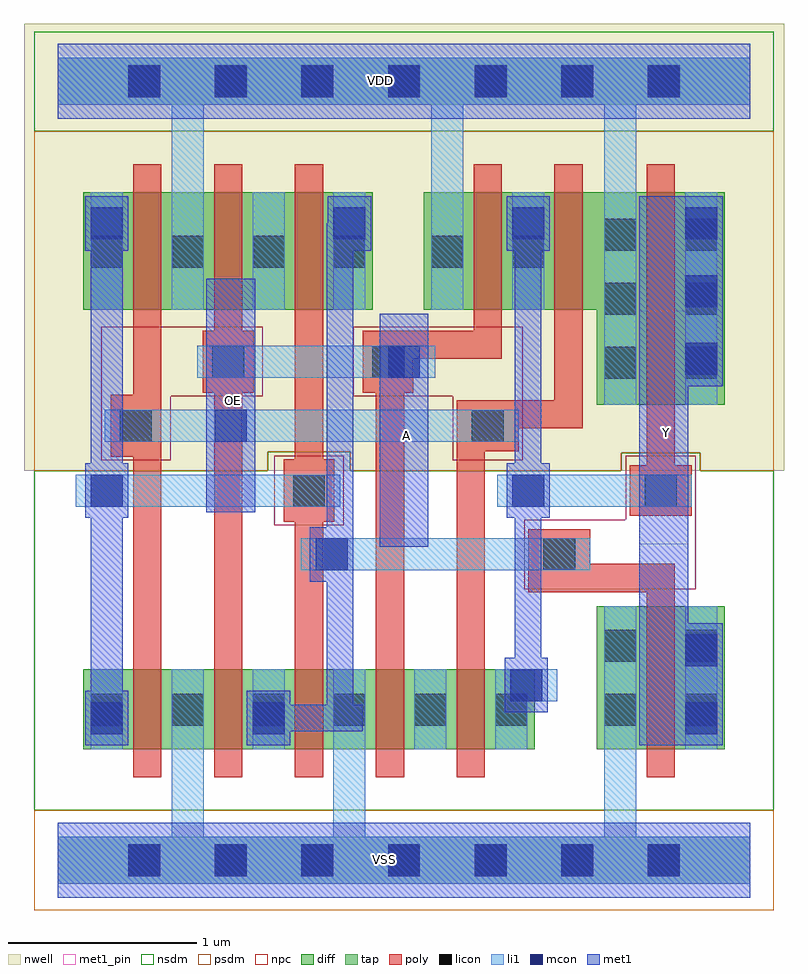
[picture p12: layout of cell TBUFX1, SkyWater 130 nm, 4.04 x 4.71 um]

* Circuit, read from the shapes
.subckt TBUFX1 A OE VDD VSS Y
XM1 VSS OE n1 VSS sky130_fd_pr__nfet_01v8 w=0.425 l=0.15
XM2 n2 A VSS VSS sky130_fd_pr__nfet_01v8 w=0.425 l=0.15
XM3 VSS n1 n2 VSS sky130_fd_pr__nfet_01v8 w=0.425 l=0.15
XM4 n3 A VSS VSS sky130_fd_pr__nfet_01v8 w=0.425 l=0.15
XM5 n4 OE n3 VSS sky130_fd_pr__nfet_01v8 w=0.425 l=0.15
XM6 Y n2 VSS VSS sky130_fd_pr__nfet_01v8 w=0.76 l=0.15
XM7 VDD OE n1 VDD sky130_fd_pr__pfet_01v8 w=0.625 l=0.15
XM8 n5 A VDD VDD sky130_fd_pr__pfet_01v8 w=0.625 l=0.15
XM9 n2 n1 n5 VDD sky130_fd_pr__pfet_01v8 w=0.625 l=0.15
XM10 n4 A VDD VDD sky130_fd_pr__pfet_01v8 w=0.625 l=0.15
XM11 VDD OE n4 VDD sky130_fd_pr__pfet_01v8 w=0.625 l=0.15
XM12 Y n4 VDD VDD sky130_fd_pr__pfet_01v8 w=1.13 l=0.15
.ends

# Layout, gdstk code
from math import pi, radians
import gdstk
lib = gdstk.Library(unit=1e-6, precision=1e-09)
def R(c, l, rs):  # rectangles x0, y0, x1, y1
    for r in rs: c.add(gdstk.rectangle(r[:2], r[2:], *l))
def A(c, l, x, y, w, h, nx, ny, dx, dy):  # array of equal rectangles
    R(c, l, [(x+i*dx, y+j*dy, x+i*dx+w, y+j*dy+h) for i in range(nx) for j in range(ny)])
def P(c, l, *ps):  # polygons
    for p in ps: c.add(gdstk.Polygon(p, *l))
nwell = (64, 20)
diff = (65, 20)
tap = (65, 44)
poly = (66, 20)
licon = (66, 44)
li1 = (67, 20)
mcon = (67, 44)
met1_pin = (68, 16)
met1 = (68, 20)
nsdm = (93, 44)
psdm = (94, 20)
npc = (95, 20)

pfet_01v8_cdns_715785618 = lib.new_cell('pfet_01v8_CDNS_7157856182038')
R(pfet_01v8_cdns_715785618, nwell, [(-0.445,-0.18,0.595,1.31)])
R(pfet_01v8_cdns_715785618, diff, [(-0.265,0,0,1.13), (0,0,0.15,1.13), (0.15,0,0.415,1.13)])
R(pfet_01v8_cdns_715785618, poly, [(0,-0.15,0.15,-0.095), (0,-0.095,0.15,0), (0,0,0.15,1.13), (0,1.13,0.15,1.225), (0,1.225,0.15,1.28)])
A(pfet_01v8_cdns_715785618, licon, -0.225, 0.14, 0.17, 0.17, 1, 3, 0, 0.34)
A(pfet_01v8_cdns_715785618, licon, 0.205, 0.14, 0.17, 0.17, 1, 3, 0, 0.34)
R(pfet_01v8_cdns_715785618, li1, [(-0.225,0,-0.055,1.13), (0.205,0,0.375,1.13)])
R(pfet_01v8_cdns_715785618, psdm, [(-0.405,-0.13,0.555,1.26)])

nfet_01v8_cdns_715785618 = lib.new_cell('nfet_01v8_CDNS_7157856182029')
R(nfet_01v8_cdns_715785618, diff, [(-0.055,0,0,0.425), (0,0,0.15,0.425), (0.15,0,0.375,0.425)])
R(nfet_01v8_cdns_715785618, poly, [(0,-0.15,0.15,-0.095), (0,-0.095,0.15,0), (0,0,0.15,0.425), (0,0.425,0.15,0.52), (0,0.52,0.15,0.575)])
R(nfet_01v8_cdns_715785618, nsdm, [(-0.065,-0.13,0.385,0.555)])

c_nfet_01v8_cdns_715785618 = lib.new_cell('nfet_01v8_CDNS_7157856182075')
R(c_nfet_01v8_cdns_715785618, diff, [(-0.225,0,0,0.425), (0,0,0.15,0.425), (0.15,0,0.205,0.425)])
R(c_nfet_01v8_cdns_715785618, poly, [(0,-0.15,0.15,-0.095), (0,-0.095,0.15,0), (0,0,0.15,0.425), (0,0.425,0.15,0.52), (0,0.52,0.15,0.575)])
R(c_nfet_01v8_cdns_715785618, licon, [(-0.225,0.125,-0.055,0.295)])
R(c_nfet_01v8_cdns_715785618, li1, [(-0.225,0,-0.055,0.425)])
R(c_nfet_01v8_cdns_715785618, nsdm, [(-0.235,-0.13,0.215,0.555)])

c_nfet_01v8_cdns_715785618_ = lib.new_cell('nfet_01v8_CDNS_715785618200')
R(c_nfet_01v8_cdns_715785618_, diff, [(-0.265,0,0,0.76), (0,0,0.15,0.76), (0.15,0,0.415,0.76)])
R(c_nfet_01v8_cdns_715785618_, poly, [(0,-0.15,0.15,-0.095), (0,-0.095,0.15,0), (0,0,0.15,0.76), (0,0.76,0.15,0.855), (0,0.855,0.15,0.91)])
R(c_nfet_01v8_cdns_715785618_, licon, [(-0.225,0.125,-0.055,0.295), (0.205,0.125,0.375,0.295), (-0.225,0.465,-0.055,0.635), (0.205,0.465,0.375,0.635)])
R(c_nfet_01v8_cdns_715785618_, li1, [(-0.225,0,-0.055,0.76), (0.205,0,0.375,0.76)])
R(c_nfet_01v8_cdns_715785618_, nsdm, [(-0.405,-0.13,0.555,0.89)])

c_pfet_01v8_cdns_715785618 = lib.new_cell('pfet_01v8_CDNS_7157856182019')
R(c_pfet_01v8_cdns_715785618, nwell, [(-0.405,-0.18,0.595,0.805)])
R(c_pfet_01v8_cdns_715785618, diff, [(-0.225,0,0,0.625), (0,0,0.15,0.625), (0.15,0,0.415,0.625)])
R(c_pfet_01v8_cdns_715785618, poly, [(0,-0.15,0.15,-0.095), (0,-0.095,0.15,0), (0,0,0.15,0.625), (0,0.625,0.15,0.72), (0,0.72,0.15,0.775)])
R(c_pfet_01v8_cdns_715785618, licon, [(-0.225,0.225,-0.055,0.395), (0.205,0.225,0.375,0.395)])
R(c_pfet_01v8_cdns_715785618, li1, [(-0.225,0,-0.055,0.625), (0.205,0,0.375,0.625)])
R(c_pfet_01v8_cdns_715785618, psdm, [(-0.235,-0.13,0.555,0.755)])

c_pfet_01v8_cdns_715785618_ = lib.new_cell('pfet_01v8_CDNS_7157856182076')
R(c_pfet_01v8_cdns_715785618_, nwell, [(-0.235,-0.18,0.595,0.805)])
R(c_pfet_01v8_cdns_715785618_, diff, [(-0.055,0,0,0.625), (0,0,0.15,0.625), (0.15,0,0.415,0.625)])
R(c_pfet_01v8_cdns_715785618_, poly, [(0,-0.15,0.15,-0.095), (0,-0.095,0.15,0), (0,0,0.15,0.625), (0,0.625,0.15,0.72), (0,0.72,0.15,0.775)])
R(c_pfet_01v8_cdns_715785618_, licon, [(0.205,0.225,0.375,0.395)])
R(c_pfet_01v8_cdns_715785618_, li1, [(0.205,0,0.375,0.625)])
R(c_pfet_01v8_cdns_715785618_, psdm, [(-0.065,-0.13,0.555,0.755)])

c_pfet_01v8_cdns_715785618__ = lib.new_cell('pfet_01v8_CDNS_7157856182027')
R(c_pfet_01v8_cdns_715785618__, nwell, [(-0.235,-0.18,0.555,0.805)])
R(c_pfet_01v8_cdns_715785618__, diff, [(-0.055,0,0,0.625), (0,0,0.15,0.625), (0.15,0,0.375,0.625)])
R(c_pfet_01v8_cdns_715785618__, poly, [(0,-0.15,0.15,-0.095), (0,-0.095,0.15,0), (0,0,0.15,0.625), (0,0.625,0.15,0.72), (0,0.72,0.15,0.775)])
R(c_pfet_01v8_cdns_715785618__, psdm, [(-0.065,-0.13,0.385,0.755)])

c_pfet_01v8_cdns_715785618___ = lib.new_cell('pfet_01v8_CDNS_7157856182010')
R(c_pfet_01v8_cdns_715785618___, nwell, [(-0.445,-0.18,0.555,0.805)])
R(c_pfet_01v8_cdns_715785618___, diff, [(-0.265,0,0,0.625), (0,0,0.15,0.625), (0.15,0,0.375,0.625)])
R(c_pfet_01v8_cdns_715785618___, poly, [(0,-0.15,0.15,-0.095), (0,-0.095,0.15,0), (0,0,0.15,0.625), (0,0.625,0.15,0.72), (0,0.72,0.15,0.775)])
R(c_pfet_01v8_cdns_715785618___, licon, [(-0.225,0.225,-0.055,0.395), (0.205,0.225,0.375,0.395)])
R(c_pfet_01v8_cdns_715785618___, li1, [(-0.225,0,-0.055,0.625), (0.205,0,0.375,0.625)])
R(c_pfet_01v8_cdns_715785618___, psdm, [(-0.405,-0.13,0.385,0.755)])

c_nfet_01v8_cdns_715785618__ = lib.new_cell('nfet_01v8_CDNS_715785618206')
R(c_nfet_01v8_cdns_715785618__, diff, [(-0.225,0,0,0.425), (0,0,0.15,0.425), (0.15,0,0.415,0.425)])
R(c_nfet_01v8_cdns_715785618__, poly, [(0,-0.15,0.15,-0.095), (0,-0.095,0.15,0), (0,0,0.15,0.425), (0,0.425,0.15,0.52), (0,0.52,0.15,0.575)])
R(c_nfet_01v8_cdns_715785618__, licon, [(-0.225,0.125,-0.055,0.295), (0.205,0.125,0.375,0.295)])
R(c_nfet_01v8_cdns_715785618__, li1, [(-0.225,0,-0.055,0.425), (0.205,0,0.375,0.425)])
R(c_nfet_01v8_cdns_715785618__, nsdm, [(-0.235,-0.13,0.555,0.555)])

c_nfet_01v8_cdns_715785618___ = lib.new_cell('nfet_01v8_CDNS_7157856182077')
R(c_nfet_01v8_cdns_715785618___, diff, [(-0.055,0,0,0.425), (0,0,0.15,0.425), (0.15,0,0.415,0.425)])
R(c_nfet_01v8_cdns_715785618___, poly, [(0,-0.15,0.15,-0.095), (0,-0.095,0.15,0), (0,0,0.15,0.425), (0,0.425,0.15,0.52), (0,0.52,0.15,0.575)])
R(c_nfet_01v8_cdns_715785618___, licon, [(0.205,0.125,0.375,0.295)])
R(c_nfet_01v8_cdns_715785618___, li1, [(0.205,0,0.375,0.425)])
R(c_nfet_01v8_cdns_715785618___, nsdm, [(-0.065,-0.13,0.555,0.555)])

c_nfet_01v8_cdns_715785618____ = lib.new_cell('nfet_01v8_CDNS_7157856182078')
R(c_nfet_01v8_cdns_715785618____, diff, [(-0.055,0,0,0.425), (0,0,0.15,0.425), (0.15,0,0.375,0.425)])
R(c_nfet_01v8_cdns_715785618____, poly, [(0,-0.15,0.15,-0.095), (0,-0.095,0.15,0), (0,0,0.15,0.425), (0,0.425,0.15,0.52), (0,0.52,0.15,0.575)])
R(c_nfet_01v8_cdns_715785618____, licon, [(0.205,0.125,0.375,0.295)])
R(c_nfet_01v8_cdns_715785618____, li1, [(0.205,0,0.375,0.425)])
R(c_nfet_01v8_cdns_715785618____, nsdm, [(-0.065,-0.13,0.385,0.555)])

c_pfet_01v8_cdns_715785618____ = lib.new_cell('pfet_01v8_CDNS_7157856182031')
R(c_pfet_01v8_cdns_715785618____, nwell, [(-0.255,-0.18,0.385,0.805)])
R(c_pfet_01v8_cdns_715785618____, diff, [(-0.075,0,0,0.625), (0,0,0.15,0.625), (0.15,0,0.205,0.625)])
R(c_pfet_01v8_cdns_715785618____, poly, [(0,-0.15,0.15,-0.095), (0,-0.095,0.15,0), (0,0,0.15,0.625), (0,0.625,0.15,0.72), (0,0.72,0.15,0.775)])
R(c_pfet_01v8_cdns_715785618____, psdm, [(0.045,-0.13,0.215,0.755)])

pyl1con_c_cdns_715785618 = lib.new_cell('PYL1CON_C_CDNS_715785618200')
R(pyl1con_c_cdns_715785618, poly, [(-0.135,-0.165,0.135,0.165)])
R(pyl1con_c_cdns_715785618, licon, [(-0.085,-0.085,0.085,0.085)])
R(pyl1con_c_cdns_715785618, npc, [(-0.185,-0.185,0.185,0.185)])

l1m1_c_cdns_715785618204 = lib.new_cell('L1M1_C_CDNS_715785618204')
R(l1m1_c_cdns_715785618204, li1, [(-0.085,-0.525,0.085,0.525)])
A(l1m1_c_cdns_715785618204, mcon, -0.085, -0.445, 0.17, 0.17, 1, 3, 0, 0.36)
R(l1m1_c_cdns_715785618204, met1, [(-0.115,-0.505,0.115,0.505)])

c_pyl1con_c_cdns_715785618 = lib.new_cell('PYL1CON_C_CDNS_7157856182017')
R(c_pyl1con_c_cdns_715785618, poly, [(-0.165,-0.135,0.165,0.135)])
R(c_pyl1con_c_cdns_715785618, licon, [(-0.085,-0.085,0.085,0.085)])
R(c_pyl1con_c_cdns_715785618, npc, [(-0.185,-0.185,0.185,0.185)])

l1m1_c_cdns_715785618205 = lib.new_cell('L1M1_C_CDNS_715785618205')
R(l1m1_c_cdns_715785618205, li1, [(-0.085,-0.345,0.085,0.345)])
R(l1m1_c_cdns_715785618205, mcon, [(-0.085,-0.265,0.085,-0.095), (-0.085,0.095,0.085,0.265)])
R(l1m1_c_cdns_715785618205, met1, [(-0.115,-0.325,0.115,0.325)])

l1m1_c_cdns_715785618202 = lib.new_cell('L1M1_C_CDNS_715785618202')
R(l1m1_c_cdns_715785618202, li1, [(-0.085,-0.165,0.085,0.165)])
R(l1m1_c_cdns_715785618202, mcon, [(-0.085,-0.085,0.085,0.085)])
R(l1m1_c_cdns_715785618202, met1, [(-0.115,-0.145,0.115,0.145)])

l1m1_c_cdns_715785618203 = lib.new_cell('L1M1_C_CDNS_715785618203')
R(l1m1_c_cdns_715785618203, li1, [(-0.165,-0.085,0.165,0.085)])
R(l1m1_c_cdns_715785618203, mcon, [(-0.085,-0.085,0.085,0.085)])
R(l1m1_c_cdns_715785618203, met1, [(-0.115,-0.145,0.115,0.145)])

licondiff_c_cdns_7157856 = lib.new_cell('LICONDIFF_C_CDNS_7157856182013')
R(licondiff_c_cdns_7157856, diff, [(-0.125,-0.145,0.125,0.145)])
R(licondiff_c_cdns_7157856, licon, [(-0.085,-0.085,0.085,0.085), (-0.085,-0.085,0.085,0.085)])

tbufx1 = lib.new_cell('TBUFX1')
R(tbufx1, nwell, [(-0.18,2.07,3.86,4.305), (-0.18,3.875,3.86,4.445)])
A(tbufx1, licon, 0.375, -0.085, 0.17, 0.17, 7, 2, 0.46, 4.14)
A(tbufx1, mcon, 0.375, -0.085, 0.17, 0.17, 7, 2, 0.46, 4.14)
R(tbufx1, met1_pin, [(1.71,1.665,1.97,2.905), (3.09,1.68,3.35,2.92), (0.79,1.85,1.05,3.09)])
R(tbufx1, nsdm, [(-0.125,3.875,3.805,4.405), (-0.125,3.93,3.805,4.35)])
P(tbufx1, nsdm, [(3.805,2.07),(3.415,2.07),(3.415,2.165),(2.995,2.165),(2.995,2.07),(1.555,2.07),(1.555,2.17),(1.115,2.17),(1.115,2.07),(-0.125,2.07),(-0.125,0.265),(3.805,0.265)])
R(tbufx1, psdm, [(-0.125,-0.265,3.805,0.265), (-0.125,-0.21,3.805,0.21)])
P(tbufx1, psdm, [(3.805,3.875),(-0.125,3.875),(-0.125,2.07),(1.115,2.07),(1.115,2.17),(1.555,2.17),(1.555,2.07),(2.995,2.07),(2.995,2.165),(3.415,2.165),(3.415,2.07),(3.805,2.07)])
R(tbufx1, npc, [(2.48,1.44,3.39,1.81), (3.02,1.44,3.39,2.15), (0.23,2.465,1.09,2.835), (1.57,2.465,2.47,2.835)])
tbufx1.add(gdstk.FlexPath([(2.285,2.74),(1.765,2.74)], 0.15, ends=(0.075, 0), simple_path=True, layer=66, datatype=20))  # poly
tbufx1.add(gdstk.FlexPath([(2.195,1.165),(2.195,2.37)], 0.15, ends=(0, 0.075), simple_path=True, layer=66, datatype=20))  # poly
tbufx1.add(gdstk.FlexPath([(0.905,2.775),(0.905,1.165)], 0.15, ends="flush", simple_path=True, layer=66, datatype=20))  # poly
tbufx1.add(gdstk.FlexPath([(3.205,2.32),(3.205,1.88)], 0.15, ends="flush", simple_path=True, layer=66, datatype=20))  # poly
tbufx1.add(gdstk.FlexPath([(3.205,1.5),(2.5,1.5)], 0.15, ends=(0.075, 0), simple_path=True, layer=66, datatype=20))  # poly
tbufx1.add(gdstk.FlexPath([(0.475,2.775),(0.475,1.165)], 0.15, ends="flush", simple_path=True, layer=66, datatype=20))  # poly
tbufx1.add(gdstk.FlexPath([(2.715,2.775),(2.715,2.295)], 0.15, ends="flush", simple_path=True, layer=66, datatype=20))  # poly
tbufx1.add(gdstk.FlexPath([(1.335,2.775),(1.335,1.165)], 0.15, ends="flush", simple_path=True, layer=66, datatype=20))  # poly
tbufx1.add(gdstk.FlexPath([(2.195,2.37),(2.79,2.37)], 0.15, ends=(0.075, 0), simple_path=True, layer=66, datatype=20))  # poly
tbufx1.add(gdstk.FlexPath([(1.765,1.09),(1.765,2.775)], 0.15, ends="flush", simple_path=True, layer=66, datatype=20))  # poly
tbufx1.add(gdstk.FlexPath([(1.12,2.925),(1.12,3.55)], 0.17, ends="flush", simple_path=True, layer=67, datatype=20))  # li1
tbufx1.add(gdstk.FlexPath([(3.42,0.935),(3.42,1.35)], 0.17, ends="flush", simple_path=True, layer=67, datatype=20))  # li1
tbufx1.add(gdstk.FlexPath([(2.5,1.965),(3.37,1.965)], 0.17, ends="flush", simple_path=True, layer=67, datatype=20))  # li1
tbufx1.add(gdstk.FlexPath([(0.26,0.74),(0.26,0.755)], 0.17, ends="flush", simple_path=True, layer=67, datatype=20))  # li1
tbufx1.add(gdstk.FlexPath([(2.83,1.625),(1.55,1.625)], 0.17, ends="flush", simple_path=True, layer=67, datatype=20))  # li1
tbufx1.add(gdstk.FlexPath([(1.5,1.965),(0.26,1.965)], 0.17, ends="flush", simple_path=True, layer=67, datatype=20))  # li1
tbufx1.add(gdstk.FlexPath([(2.41,0.93),(2.41,0.98)], 0.17, ends="flush", simple_path=True, layer=67, datatype=20))  # li1
tbufx1.add(gdstk.FlexPath([(1.98,0.59),(1.98,1.015)], 0.17, ends="flush", simple_path=True, layer=67, datatype=20))  # li1
tbufx1.add(gdstk.FlexPath([(3.42,3.025),(3.42,2.42)], 0.17, ends="flush", simple_path=True, layer=67, datatype=20))  # li1
tbufx1.add(gdstk.FlexPath([(2.45,2.31),(0.25,2.31)], 0.17, ends="flush", simple_path=True, layer=67, datatype=20))  # li1
tbufx1.add(gdstk.FlexPath([(1.99,2.65),(0.74,2.65)], 0.17, ends="flush", simple_path=True, layer=67, datatype=20))  # li1
tbufx1.add(gdstk.FlexPath([(2.47,0),(3.42,0)], 0.25, ends=(0.085, 0.085), simple_path=True, layer=67, datatype=20))  # li1
tbufx1.add(gdstk.FlexPath([(3.42,0),(3.595,0)], 0.25, ends=(0.085, 0.085), simple_path=True, layer=67, datatype=20))  # li1
tbufx1.add(gdstk.FlexPath([(0.69,0),(2.47,0)], 0.25, ends=(0.085, 0.085), simple_path=True, layer=67, datatype=20))  # li1
tbufx1.add(gdstk.FlexPath([(3.595,0),(3.68,0)], 0.25, ends=(0.085, 0), simple_path=True, layer=67, datatype=20))  # li1
tbufx1.add(gdstk.FlexPath([(0,0),(0.69,0)], 0.25, ends=(0, 0.085), simple_path=True, layer=67, datatype=20))  # li1
tbufx1.add(gdstk.FlexPath([(2.47,4.14),(3.42,4.14)], 0.25, ends=(0.085, 0.085), simple_path=True, layer=67, datatype=20))  # li1
tbufx1.add(gdstk.FlexPath([(0,4.14),(0.69,4.14)], 0.25, ends=(0, 0.085), simple_path=True, layer=67, datatype=20))  # li1
tbufx1.add(gdstk.FlexPath([(3.42,4.14),(3.595,4.14)], 0.25, ends=(0.085, 0.085), simple_path=True, layer=67, datatype=20))  # li1
tbufx1.add(gdstk.FlexPath([(0.69,4.14),(2.47,4.14)], 0.25, ends=(0.085, 0.085), simple_path=True, layer=67, datatype=20))  # li1
tbufx1.add(gdstk.FlexPath([(3.595,4.14),(3.68,4.14)], 0.25, ends=(0.085, 0), simple_path=True, layer=67, datatype=20))  # li1
tbufx1.add(gdstk.FlexPath([(0.69,3.55),(0.69,4.115)], 0.17, ends="flush", simple_path=True, layer=67, datatype=20))  # li1
tbufx1.add(gdstk.FlexPath([(0.69,0.59),(0.69,0)], 0.17, ends="flush", simple_path=True, layer=67, datatype=20))  # li1
tbufx1.add(gdstk.FlexPath([(2.99,0.735),(2.99,0)], 0.17, ends="flush", simple_path=True, layer=67, datatype=20))  # li1
tbufx1.add(gdstk.FlexPath([(2.07,3.55),(2.07,4.14)], 0.17, ends="flush", simple_path=True, layer=67, datatype=20))  # li1
tbufx1.add(gdstk.FlexPath([(1.55,0.59),(1.55,-0.005)], 0.17, ends="flush", simple_path=True, layer=67, datatype=20))  # li1
tbufx1.add(gdstk.FlexPath([(2.99,3.55),(2.99,4.145)], 0.17, ends="flush", simple_path=True, layer=67, datatype=20))  # li1
tbufx1.add(gdstk.FlexPath([(0,4.14),(3.68,4.14)], 0.25, ends="flush", simple_path=True, layer=65, datatype=44))  # tap
tbufx1.add(gdstk.FlexPath([(0,0),(3.68,0)], 0.25, ends="flush", simple_path=True, layer=65, datatype=44))  # tap
tbufx1.add(gdstk.FlexPath([(0,0),(3.68,0)], 0.4, ends="flush", simple_path=True, layer=68, datatype=16))  # met1_pin
tbufx1.add(gdstk.FlexPath([(0,4.14),(3.68,4.14)], 0.4, ends="flush", simple_path=True, layer=68, datatype=16))  # met1_pin
tbufx1.add(gdstk.FlexPath([(0.92,1.85),(0.92,3.09)], 0.26, ends="flush", simple_path=True, layer=68, datatype=20))  # met1
tbufx1.add(gdstk.FlexPath([(3.22,0.61),(3.22,3.53)], 0.26, ends="flush", simple_path=True, layer=68, datatype=20))  # met1
tbufx1.add(gdstk.FlexPath([(0.26,0.755),(0.26,3.385)], 0.17, ends="flush", simple_path=True, layer=68, datatype=20))  # met1
tbufx1.add(gdstk.FlexPath([(1.84,1.665),(1.84,2.905)], 0.26, ends="flush", simple_path=True, layer=68, datatype=20))  # met1
tbufx1.add(gdstk.FlexPath([(1.62,0.755),(1.12,0.755)], 0.14, ends="flush", simple_path=True, layer=68, datatype=20))  # met1
tbufx1.add(gdstk.FlexPath([(2.5,0.93),(2.5,3.385)], 0.14, ends="flush", simple_path=True, layer=68, datatype=20))  # met1
tbufx1.add(gdstk.FlexPath([(1.5,0.685),(1.5,3.385)], 0.14, ends="flush", simple_path=True, layer=68, datatype=20))  # met1
tbufx1.add(gdstk.FlexPath([(0,4.14),(3.68,4.14)], 0.4, ends="flush", simple_path=True, layer=68, datatype=20))  # met1
tbufx1.add(gdstk.FlexPath([(0,0),(3.68,0)], 0.4, ends="flush", simple_path=True, layer=68, datatype=20))  # met1
tbufx1.add(gdstk.Reference(pfet_01v8_cdns_715785618, (3.13,2.42)))
tbufx1.add(gdstk.Reference(nfet_01v8_cdns_715785618, (1.69,0.59)))
tbufx1.add(gdstk.Reference(c_nfet_01v8_cdns_715785618, (1.41,0.59), rotation=pi, x_reflection=True))
tbufx1.add(gdstk.Reference(c_nfet_01v8_cdns_715785618_, (3.13,0.59)))
tbufx1.add(gdstk.Reference(c_pfet_01v8_cdns_715785618, (0.55,2.925), rotation=pi, x_reflection=True))
tbufx1.add(gdstk.Reference(c_pfet_01v8_cdns_715785618_, (1.26,2.925)))
tbufx1.add(gdstk.Reference(c_pfet_01v8_cdns_715785618__, (0.83,2.925)))
tbufx1.add(gdstk.Reference(c_pfet_01v8_cdns_715785618___, (2.21,2.925)))
tbufx1.add(gdstk.Reference(c_nfet_01v8_cdns_715785618__, (0.55,0.59), rotation=pi, x_reflection=True))
tbufx1.add(gdstk.Reference(c_nfet_01v8_cdns_715785618___, (2.12,0.59)))
tbufx1.add(gdstk.Reference(c_nfet_01v8_cdns_715785618____, (0.83,0.59)))
tbufx1.add(gdstk.Reference(c_pfet_01v8_cdns_715785618____, (2.79,2.925), rotation=pi, x_reflection=True))
tbufx1.add(gdstk.Reference(pyl1con_c_cdns_715785618, (1.335,1.965), x_reflection=True))
tbufx1.add(gdstk.Reference(pyl1con_c_cdns_715785618, (1.755,2.65), x_reflection=True))
tbufx1.add(gdstk.Reference(pyl1con_c_cdns_715785618, (0.415,2.31), x_reflection=True))
tbufx1.add(gdstk.Reference(pyl1con_c_cdns_715785618, (0.905,2.65), x_reflection=True))
tbufx1.add(gdstk.Reference(l1m1_c_cdns_715785618204, (3.42,3.025)))
tbufx1.add(gdstk.Reference(c_pyl1con_c_cdns_715785618, (2.665,1.625), x_reflection=True))
tbufx1.add(gdstk.Reference(c_pyl1con_c_cdns_715785618, (3.205,1.965), x_reflection=True))
tbufx1.add(gdstk.Reference(c_pyl1con_c_cdns_715785618, (2.285,2.31), x_reflection=True))
tbufx1.add(gdstk.Reference(l1m1_c_cdns_715785618205, (3.42,0.935)))
tbufx1.add(gdstk.Reference(l1m1_c_cdns_715785618202, (0.26,3.385)))
tbufx1.add(gdstk.Reference(l1m1_c_cdns_715785618202, (0.26,0.755)))
tbufx1.add(gdstk.Reference(l1m1_c_cdns_715785618202, (1.55,3.385)))
tbufx1.add(gdstk.Reference(l1m1_c_cdns_715785618202, (2.5,3.385)))
tbufx1.add(gdstk.Reference(l1m1_c_cdns_715785618202, (1.12,0.755)))
tbufx1.add(gdstk.Reference(l1m1_c_cdns_715785618203, (0.92,2.31), x_reflection=True))
tbufx1.add(gdstk.Reference(l1m1_c_cdns_715785618203, (2.49,0.93)))
tbufx1.add(gdstk.Reference(l1m1_c_cdns_715785618203, (2.5,1.965)))
tbufx1.add(gdstk.Reference(l1m1_c_cdns_715785618203, (0.26,1.965)))
tbufx1.add(gdstk.Reference(l1m1_c_cdns_715785618203, (1.84,2.65), x_reflection=True))
tbufx1.add(gdstk.Reference(l1m1_c_cdns_715785618203, (1.455,1.625)))
tbufx1.add(gdstk.Reference(licondiff_c_cdns_7157856, (1.12,3.235)))
tbufx1.add(gdstk.Reference(licondiff_c_cdns_7157856, (1.98,0.8)))
tbufx1.add(gdstk.Label('VDD', (1.715,4.145), layer=68, texttype=20))
tbufx1.add(gdstk.Label('OE', (0.935,2.445), layer=68, texttype=20))
tbufx1.add(gdstk.Label('Y', (3.235,2.275), layer=68, texttype=20))
tbufx1.add(gdstk.Label('A', (1.855,2.26), layer=68, texttype=20))
tbufx1.add(gdstk.Label('VSS', (1.735,0.005), layer=68, texttype=20))

lib.write_gds('TBUFX1.gds')
